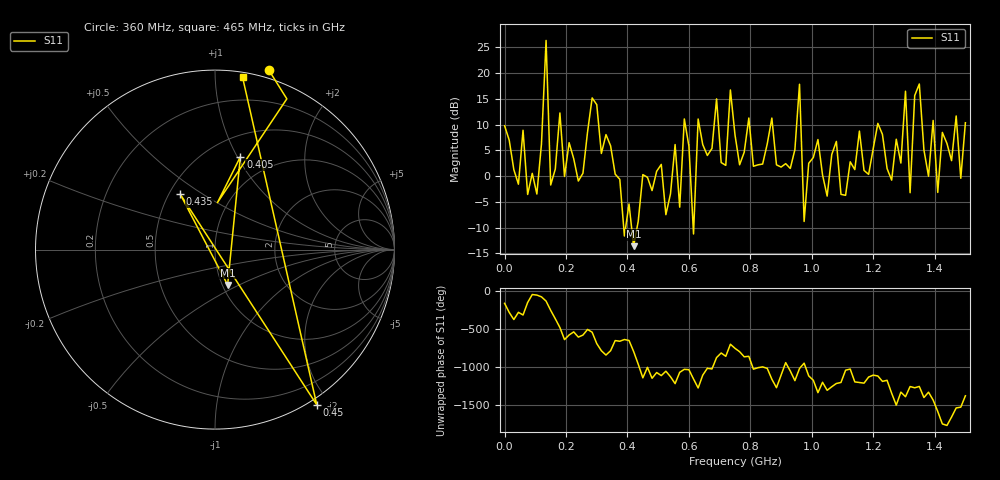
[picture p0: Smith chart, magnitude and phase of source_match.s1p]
! Created with skrf 1.8.0 (http://scikit-rf.org).
# Hz S RI R 50.0
!freq ReS11 ImS11
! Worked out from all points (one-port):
!   101 points, 50 kHz to 1.5 GHz, reference 50 ohm
!   lowest |S11| = -13.6 dB at 420 MHz (marker M1), VSWR 1.53, Z = 53 - j21.8 ohm
!   |S11| at or under -10 dB: 387.8 MHz to 394 MHz (6.177 MHz wide, 1.58 % of centre); 413.4 MHz to 431.2 MHz (17.76 MHz wide, 4.21 % of centre); 613.9343 MHz to 615.8653 MHz (1.931 MHz wide, 0.314 % of centre)
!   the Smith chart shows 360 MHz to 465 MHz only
!   S11 on the Smith chart (normalised r, x): 360 MHz: -0.06, +1.34; 405 MHz: 0.71, +1.03; 435 MHz: 0.57, +0.41; 450 MHz: -0.07, -1.85; 465 MHz: 0.03, +1.17
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50000  -2.84 -1.201
1.20046e8  0.6416 -1.954
1.350455e8  -12.65 -16.5
1.50045e8  -0.2866 0.7681
1.950435e8  0.0732 0.9898
2.850405e8  -5.746 -0.26
3.0004e8  4.139 2.707
3.60038e8  0.2995 1.001
3.750375e8  0.4002 0.8399
4.050365e8  0.1414 0.5174
4.20036e8  0.0703 -0.1965
4.350355e8  -0.1939 0.3091
4.50035e8  0.5671 -0.8651
4.650345e8  0.1533 0.9613
5.70031e8  0.481 0.1344
6.90027e8  -4.878 -2.81
7.350255e8  6.218 2.929
7.50025e8  2.201 -1.213
9.450185e8  -0.1134 -1.808
9.60018e8  3.154 7.141
1.005016e9  0.0301 -1.517
1.125012e9  0.714 1.178
1.305006e9  3.842 5.463
1.320006e9  -0.6815 -0.1066
1.350005e9  -7.737 -1.344
1.395004e9  3.408 0.6747
1.470001e9  -0.187 -3.836
1.5e9  1.287 3.038
